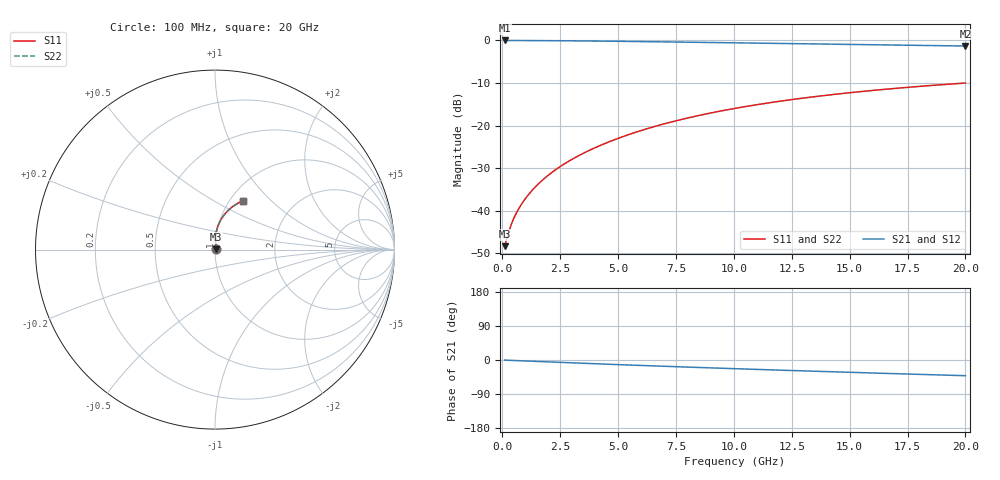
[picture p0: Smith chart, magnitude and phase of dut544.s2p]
! Touchstone file exported from HFSS 2024.1.0
!  File:  C:/UserFiles/LocalFiles/RDL_TSV_Batchsim/temp_RDL_top_544_1779680675.aedt
!  Generated:  11:46:38 AM May 25, 2026
!  Design:  RDL_top
!  Project:  temp_RDL_top_544_1779680675
!  Setup:  Setup1
!  Solution:  Sweep
! Variables:
!  dtsv = 10.80580581um
!  hbump = 3um
!  htsv = 94.54um
!  ldown = 100um
!  lrdl = 610.48um
!  p = 40
!  p1 = 48.36um
!  rhole = 1um
!  t = 450um
!  tdown = 3.915915916um
!  trdl = 2.51um
!  wdown = 15.38538539um
!  wrdl = 26.95um
# GHz S MA R 50.000000
! Terminal data exported
! Port[1] = Box2_T1
! Port[2] = Box2_T2
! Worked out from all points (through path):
!   200 points, 100 MHz to 20 GHz, reference 50 ohm
!   highest |S21| = -0.03 dB at 100 MHz (marker M1); lowest = -1.3 dB at 20 GHz (marker M2)
!   group delay of S21, straight-line fit = 5.69 ps
!   lowest |S11| = -48.3 dB at 100 MHz (marker M3), VSWR 1.01, Z = 50.4 + j0.158 ohm
!   |S11| at or under -10 dB: start of sweep to end of sweep
!   |S22| runs from -48.3 to -10.0 dB; largest |S21 - S12| = 2.7e-15
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0.1  0.003851 24.0  0.9965 -0.3  0.9965 -0.3  0.003851 24.0
! Gamma 0 0 0 0
! Port Impedance 50 0 50 0
0.3  0.005907 49.0  0.996 -0.8  0.996 -0.8  0.005907 49.0
0.4  0.007061 54.9  0.9957 -1.1  0.9957 -1.1  0.007062 54.9
0.5  0.008207 59.2  0.9955 -1.3  0.9955 -1.3  0.008208 59.2
0.6  0.009344 62.5  0.9952 -1.6  0.9952 -1.6  0.009346 62.5
0.8  0.01162 67.6  0.9948 -2.1  0.9948 -2.1  0.01163 67.6
1  0.01395 71.3  0.9943 -2.6  0.9943 -2.6  0.01395 71.3
1.2  0.01632 74.3  0.9938 -3.1  0.9938 -3.1  0.01632 74.2
1.7  0.0225 79.2  0.9923 -4.3  0.9923 -4.3  0.0225 79.2
2.2  0.029 82.3  0.9904 -5.5  0.9904 -5.5  0.029 82.3
2.8  0.03721 84.7  0.9877 -7.0  0.9877 -7.0  0.0372 84.6
3.5  0.04734 86.2  0.984 -8.7  0.984 -8.7  0.04731 86.2
4.2  0.05801 87.0  0.9796 -10.3  0.9796 -10.3  0.05796 86.9
5  0.07083 87.1  0.9742 -12.2  0.9742 -12.2  0.07075 87.0
5.9  0.08588 86.7  0.9676 -14.2  0.9676 -14.2  0.08577 86.6
6.8  0.1014 85.7  0.9607 -16.2  0.9607 -16.2  0.1013 85.6
8.4  0.1298 83.2  0.9479 -19.6  0.9479 -19.6  0.1296 83.1
10.1  0.1601 80.0  0.9342 -23.1  0.9342 -23.1  0.1598 79.9
11.7  0.1881 76.7  0.9214 -26.2  0.9214 -26.2  0.1877 76.6
13.4  0.217 73.2  0.9079 -29.5  0.9079 -29.5  0.2165 73.0
16.7  0.2691 66.4  0.8822 -35.6  0.8822 -35.6  0.2685 66.2
20  0.3156 59.9  0.8574 -41.4  0.8574 -41.4  0.3148 59.8
